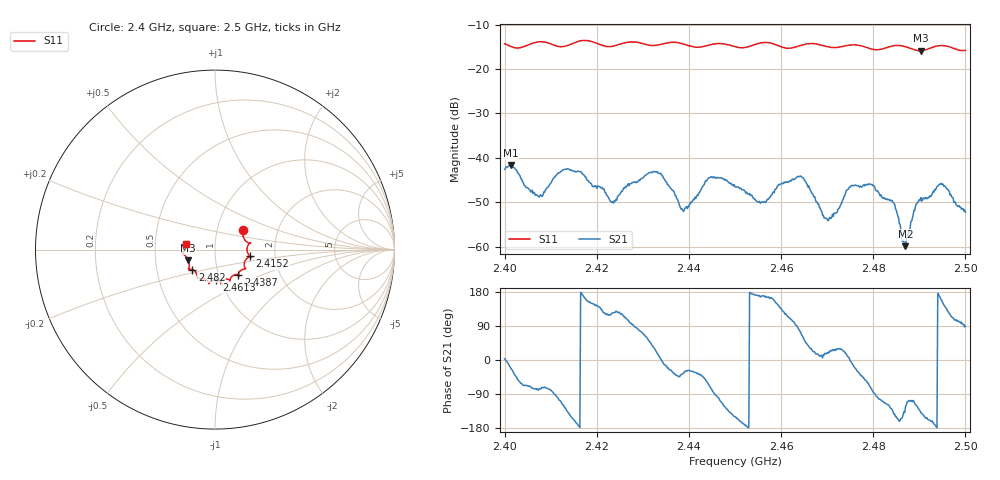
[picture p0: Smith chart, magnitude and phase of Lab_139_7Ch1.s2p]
# Hz S RI R 50
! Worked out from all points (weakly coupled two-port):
!   601 points, 2.4 GHz to 2.5 GHz, reference 50 ohm
!   highest |S21| = -41.70 dB at 2.4013 GHz (marker M1); lowest = -59.9 dB at 2.487 GHz (marker M2)
!   lowest |S11| = -15.9 dB at 2.4903 GHz (marker M3), VSWR 1.38, Z = 36.8 - j4.46 ohm
!   |S11| at or under -10 dB: start of sweep to end of sweep
!   S12 and S22 are empty: the file has one direction only
!   S11 on the Smith chart (normalised r, x): 2.4 GHz: 1.33, +0.31; 2.4152 GHz: 1.48, -0.11; 2.4387 GHz: 1.24, -0.36; 2.4613 GHz: 0.96, -0.34; 2.482 GHz: 0.76, -0.17; 2.5 GHz: 0.72, +0.05
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2.4e9  0.1572 0.1115  0.00739 0.000421  0 0  0 0
2.401333e9  0.1549 0.0911  0.00766 -0.00299  0 0  0 0
2.407667e9  0.1993 0.0375  0.000923 -0.00363  0 0  0 0
2.415167e9  0.194 -0.0371  -0.0067 -0.00235  0 0  0 0
2.416667e9  0.2038 -0.0435  -0.00692 0.000401  0 0  0 0
2.4235e9  0.1624 -0.0788  -0.00182 0.00266  0 0  0 0
2.433333e9  0.132 -0.1318  0.00651 0.00154  0 0  0 0
2.438667e9  0.1302 -0.1415  0.00205 -0.00152  0 0  0 0
2.4445e9  0.0837 -0.167  0.00209 -0.00558  0 0  0 0
2.45e9  0.0688 -0.1646  -0.00408 -0.00238  0 0  0 0
2.456e9  0.0365 -0.1947  -0.0031 0.000566  0 0  0 0
2.461333e9  0.00778 -0.1711  -0.00236 0.0048  0 0  0 0
2.464333e9  -0.0296 -0.1824  0.00213 0.0058  0 0  0 0
2.466667e9  -0.0347 -0.1903  0.00355 0.00184  0 0  0 0
2.469833e9  -0.0423 -0.1743  0.002 0.000584  0 0  0 0
2.475333e9  -0.0942 -0.1613  0.00481 -0.00069  0 0  0 0
2.482e9  -0.1259 -0.1117  -0.00116 -0.00335  0 0  0 0
2.483333e9  -0.1396 -0.1087  -0.00164 -0.00298  0 0  0 0
2.487e9  -0.1459 -0.1023  -0.000553 -0.000846  0 0  0 0
2.490333e9  -0.1492 -0.059  -0.00271 -0.00232  0 0  0 0
2.494833e9  -0.1825 -0.0202  -0.00478 0.00193  0 0  0 0
2.5e9  -0.159 0.0326  4.11e-05 0.00244  0 0  0 0
